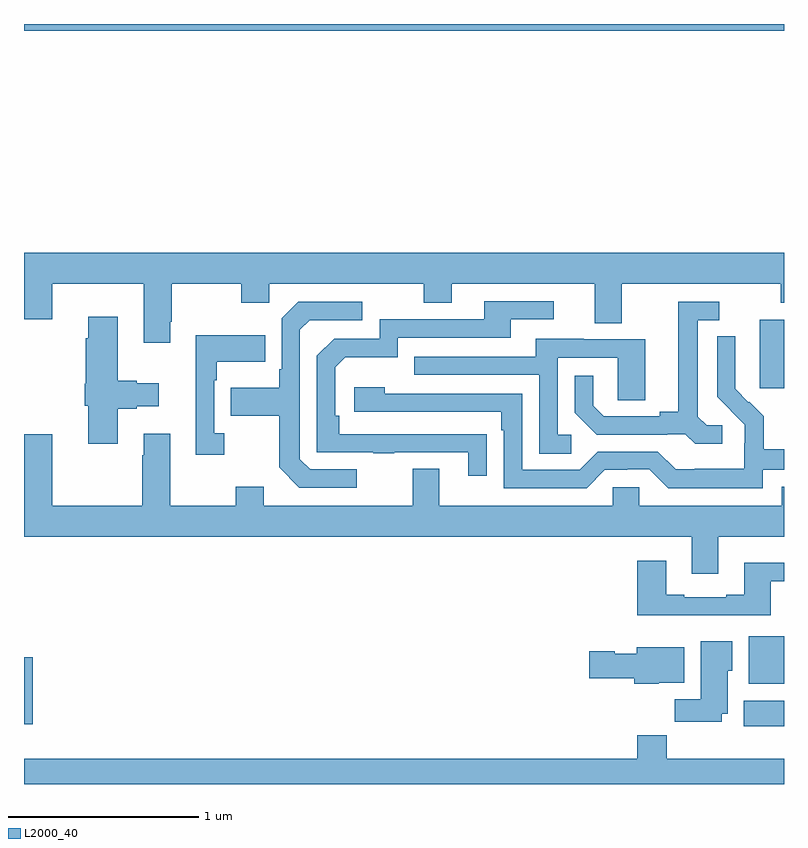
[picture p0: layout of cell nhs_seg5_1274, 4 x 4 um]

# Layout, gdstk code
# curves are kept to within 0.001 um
import gdstk
lib = gdstk.Library(unit=1e-6, precision=1e-09)
def R(c, l, rs):  # rectangles x0, y0, x1, y1
    for r in rs: c.add(gdstk.rectangle(r[:2], r[2:], *l))
def P(c, l, *ps):  # polygons
    for p in ps: c.add(gdstk.Polygon(p, *l))
L2000_40 = (2000, 40)

nhs_seg5_1274 = lib.new_cell('nhs_seg5_1274')
R(nhs_seg5_1274, L2000_40, [(192.788,849.104,193,849.238), (189,849.114,189.047,849.466), (192.815,849.326,193,849.577), (192.872,850.881,193,851.242), (189,852.764,193,852.799)])
P(nhs_seg5_1274, L2000_40, [(189.769,851.233),(189.777,851.233),(189.777,851.432),(190.144,851.432),(190.144,851.333),(190.29,851.333),(190.29,851.432),(191.104,851.432),(191.104,851.333),(191.251,851.333),(191.251,851.432),(192.005,851.432),(192.005,851.224),(192.145,851.224),(192.145,851.432),(192.982,851.432),(192.982,851.333),(193,851.333),(193,851.596),(189,851.596),(189,851.244),(189.148,851.244),(189.148,851.432),(189.629,851.432),(189.629,851.121),(189.769,851.121)],
  [(191.435,850.64),(190.658,850.641),(190.658,850.738),(190.638,850.738),(190.638,850.992),(190.691,851.045),(190.968,851.045),(190.968,851.148),(191.563,851.148),(191.563,851.244),(191.788,851.244),(191.788,851.34),(191.423,851.34),(191.423,851.244),(190.872,851.244),(190.872,851.142),(190.632,851.142),(190.542,851.052),(190.542,850.545),(190.837,850.545),(190.837,850.54),(190.949,850.54),(190.949,850.545),(191.339,850.545),(191.339,850.422),(191.435,850.422)],
  [(190.75,850.455),(190.506,850.455),(190.452,850.509),(190.452,851.19),(190.503,851.241),(190.78,851.241),(190.78,851.337),(190.443,851.337),(190.356,851.25),(190.356,850.981),(190.344,850.981),(190.344,850.885),(190.087,850.885),(190.087,850.738),(190.344,850.738),(190.344,850.465),(190.449,850.359),(190.75,850.359)],
  [(192.676,850.686),(192.594,850.686),(192.547,850.733),(192.547,851.241),(192.658,851.241),(192.658,851.337),(192.443,851.337),(192.443,850.757),(192.347,850.757),(192.347,850.734),(192.052,850.734),(191.995,850.791),(191.995,850.948),(191.898,850.948),(191.898,850.754),(192.014,850.638),(192.386,850.638),(192.386,850.641),(192.48,850.641),(192.532,850.589),(192.676,850.589)],
  [(189.493,850.775),(189.593,850.775),(189.593,850.787),(189.709,850.787),(189.709,850.909),(189.593,850.909),(189.593,850.922),(189.493,850.922),(189.493,851.257),(189.338,851.257),(189.338,851.144),(189.326,851.144),(189.326,850.905),(189.32,850.905),(189.32,850.791),(189.338,850.791),(189.338,850.59),(189.493,850.59)],
  [(190.054,850.646),(190.002,850.646),(190.002,850.925),(190.015,850.925),(190.015,851.021),(190.271,851.021),(190.271,851.161),(189.905,851.161),(189.905,850.533),(190.054,850.533)],
  [(192.888,850.452),(193,850.452),(193,850.561),(192.893,850.561),(192.893,850.735),(192.816,850.812),(192.813,850.809),(192.743,850.88),(192.744,851.156),(192.648,851.156),(192.648,850.838),(192.794,850.69),(192.794,850.593),(192.792,850.593),(192.792,850.459),(192.529,850.459),(192.529,850.455),(192.429,850.455),(192.336,850.548),(192.021,850.548),(191.925,850.452),(191.622,850.452),(191.622,850.854),(190.898,850.854),(190.898,850.888),(190.737,850.888),(190.737,850.758),(191.513,850.758),(191.513,850.661),(191.526,850.661),(191.526,850.356),(191.961,850.356),(192.057,850.452),(192.176,850.452),(192.176,850.455),(192.291,850.455),(192.391,850.355),(192.888,850.355)],
  [(191.881,850.638),(191.808,850.638),(191.808,851.043),(192.126,851.043),(192.126,850.819),(192.271,850.819),(192.271,851.139),(191.947,851.139),(191.947,851.143),(191.693,851.143),(191.693,851.049),(191.053,851.049),(191.053,850.953),(191.712,850.953),(191.712,850.537),(191.881,850.537)],
  [(191.045,850.459),(191.045,850.264),(190.261,850.264),(190.261,850.363),(190.114,850.363),(190.114,850.264),(189.769,850.264),(189.769,850.642),(189.629,850.642),(189.629,850.529),(189.622,850.529),(189.622,850.264),(189.148,850.264),(189.148,850.639),(189,850.639),(189,850.1),(192.515,850.1),(192.515,849.906),(192.655,849.906),(192.655,850.1),(193,850.1),(193,850.363),(192.989,850.363),(192.989,850.264),(192.237,850.264),(192.237,850.362),(192.099,850.362),(192.099,850.264),(191.185,850.264),(191.185,850.459)],
  [(192.931,849.867),(193,849.867),(193,849.964),(192.791,849.964),(192.791,849.796),(192.695,849.796),(192.695,849.783),(192.475,849.783),(192.475,849.796),(192.379,849.796),(192.379,849.973),(192.227,849.973),(192.227,849.686),(192.931,849.686)],
  [(192.673,849.17),(192.703,849.17),(192.703,849.396),(192.727,849.396),(192.727,849.55),(192.563,849.55),(192.563,849.244),(192.424,849.244),(192.424,849.126),(192.673,849.126)],
  [(192.342,849.332),(192.475,849.332),(192.475,849.52),(192.224,849.52),(192.224,849.484),(192.108,849.484),(192.108,849.497),(191.976,849.497),(191.976,849.355),(192.212,849.355),(192.212,849.326),(192.342,849.326)],
  [(193,848.932),(192.383,848.932),(192.383,849.056),(192.227,849.056),(192.227,848.932),(189,848.932),(189,848.799),(193,848.799)])

lib.write_gds('nhs_seg5_1274.gds')
